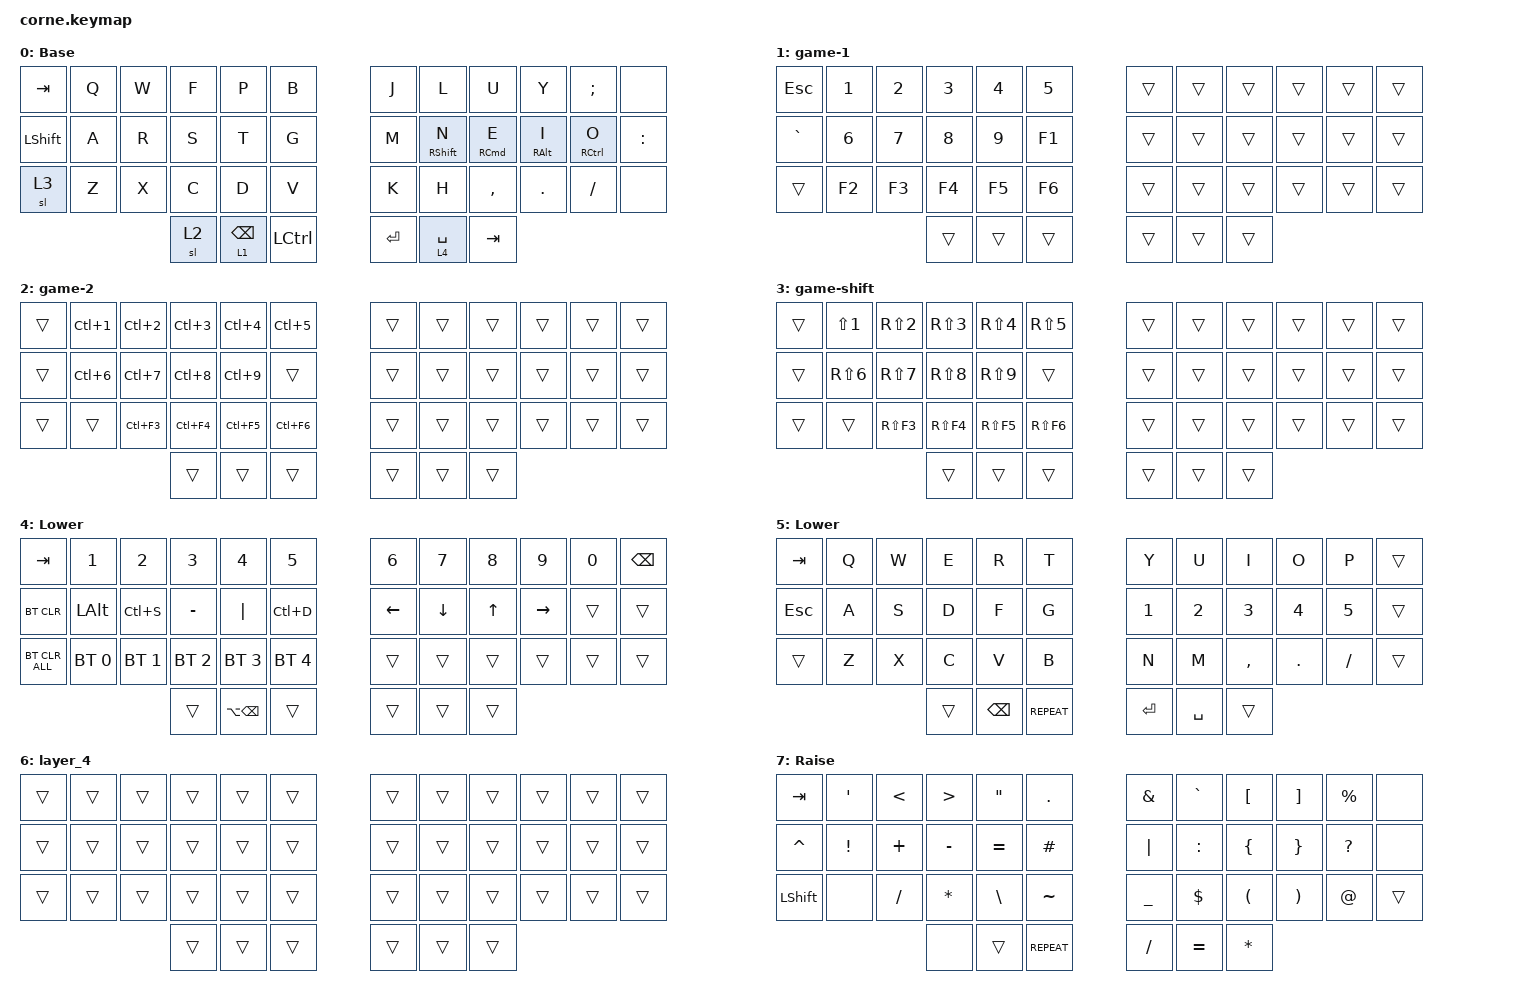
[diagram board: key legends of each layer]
/*
 * Copyright (c) 2020 The ZMK Contributors
 *
 * SPDX-License-Identifier: MIT
 */

#include <behaviors.dtsi>
#include <dt-bindings/zmk/bt.h>
#include <dt-bindings/zmk/keys.h>

/ {
    behaviors {
        hrm_r: hrm_r {
            compatible = "zmk,behavior-hold-tap";
            label = "HRM_R";
            bindings = <&kp>, <&kp>;

            #binding-cells = <2>;
            tapping-term-ms = <200>;
            quick-tap-ms = <175>;
            flavor = "tap-preferred";
            hold-trigger-on-release;
            hold-trigger-key-positions = <12 0 24 25 1 13 14 2 26 15 27 3 4 5 17 16 28 29 36 37 38 39 40 41>;
        };

        hrm_l: hrm_l {
            compatible = "zmk,behavior-hold-tap";
            label = "HRM_L";
            bindings = <&kp>, <&kp>;

            #binding-cells = <2>;
            tapping-term-ms = <200>;
            quick-tap-ms = <175>;
            flavor = "tap-preferred";
            hold-trigger-on-release;
            hold-trigger-key-positions = <36 37 38 39 40 41 6 7 8 9 10 11 18 19 20 21 22 23 30 31 32 33 34 35 39 40 41>;
        };
    };

    macros {
        hyper: hyper {
            compatible = "zmk,behavior-macro";
            #binding-cells = <0>;
            bindings = <&kp LC(LS(LA(LEFT_COMMAND)))>;
            label = "HYPER";
        };
    };

    combos {
        compatible = "zmk,combos";

        lpar {
            bindings = <&kp LESS_THAN>;
            key-positions = <19 20>;
        };

        rpar {
            bindings = <&kp GT>;
            key-positions = <20 21>;
        };

        lbrack {
            bindings = <&kp LEFT_BRACKET>;
            key-positions = <31 32>;
        };

        rbrack {
            bindings = <&kp RIGHT_BRACKET>;
            key-positions = <32 33>;
        };

        esc {
            bindings = <&kp ESC>;
            key-positions = <8 9>;
        };

        vim_wdel {
            bindings = <&kp RC(W)>;
            key-positions = <8 7>;
        };

        kgame {
            bindings = <&tog 5>;
            key-positions = <40 41>;
        };
    };

    keymap {
        compatible = "zmk,keymap";

        default_layer {
            // -----------------------------------------------------------------------------------------
            // |  TAB |  Q  |  W  |  E  |  R  |  T  |   |  Y  |  U   |  I  |  O  |  P  | BKSP |
            // | CTRL |  A  |  S  |  D  |  F  |  G  |   |  H  |  J   |  K  |  L  |  ;  |  '   |
            // | SHFT |  Z  |  X  |  C  |  V  |  B  |   |  N  |  M   |  ,  |  .  |  /  | ESC  |
            //                    | GUI | LWR | SPC |   | ENT | RSE  | ALT |

            display-name = "Base";
            bindings = <
&kp TAB         &kp Q  &kp W  &kp F  &kp P            &kp B        &kp J    &kp L                 &kp U                   &kp Y               &kp SEMICOLON           &none
&kp LEFT_SHIFT  &kp A  &kp R  &kp S  &kp T            &kp G        &kp M    &hrm_r RIGHT_SHIFT N  &hrm_r RIGHT_COMMAND E  &hrm_r RIGHT_ALT I  &hrm_r RIGHT_CONTROL O  &kp COLON
&sl 3           &kp Z  &kp X  &kp C  &kp D            &kp V        &kp K    &kp H                 &kp COMMA               &kp DOT             &kp FSLH                &none
                              &sl 2  &lt 1 BACKSPACE  &kp LCTRL    &kp RET  &lt 4 SPACE           &kp TAB
            >;
        };

        game-1 {
            bindings = <
&kp ESC    &kp NUMBER_1  &kp NUMBER_2  &kp NUMBER_3  &kp NUMBER_4  &kp NUMBER_5    &trans  &trans  &trans  &trans  &trans  &trans
&kp GRAVE  &kp NUMBER_6  &kp NUMBER_7  &kp NUMBER_8  &kp NUMBER_9  &kp F1          &trans  &trans  &trans  &trans  &trans  &trans
&trans     &kp F2        &kp F3        &kp F4        &kp F5        &kp F6          &trans  &trans  &trans  &trans  &trans  &trans
                                       &trans        &trans        &trans          &trans  &trans  &trans
            >;
        };

        game-2 {
            bindings = <
&trans  &kp LC(NUMBER_1)  &kp LC(NUMBER_2)  &kp LC(NUMBER_3)  &kp LC(NUMBER_4)  &kp LC(NUMBER_5)    &trans  &trans  &trans  &trans  &trans  &trans
&trans  &kp LC(NUMBER_6)  &kp LC(NUMBER_7)  &kp LC(NUMBER_8)  &kp LC(NUMBER_9)  &trans              &trans  &trans  &trans  &trans  &trans  &trans
&trans  &trans            &kp LC(F3)        &kp LC(F4)        &kp LC(F5)        &kp LC(F6)          &trans  &trans  &trans  &trans  &trans  &trans
                                            &trans            &trans            &trans              &trans  &trans  &trans
            >;
        };

        game-shift {
            bindings = <
&trans  &kp LS(NUMBER_1)  &kp RS(NUMBER_2)  &kp RS(NUMBER_3)  &kp RS(NUMBER_4)  &kp RS(NUMBER_5)    &trans  &trans  &trans  &trans  &trans  &trans
&trans  &kp RS(NUMBER_6)  &kp RS(NUMBER_7)  &kp RS(NUMBER_8)  &kp RS(NUMBER_9)  &trans              &trans  &trans  &trans  &trans  &trans  &trans
&trans  &trans            &kp RS(F3)        &kp RS(F4)        &kp RS(F5)        &kp RS(F6)          &trans  &trans  &trans  &trans  &trans  &trans
                                            &trans            &trans            &trans              &trans  &trans  &trans
            >;
        };

        lower_layer {
            // -----------------------------------------------------------------------------------------
            // |  TAB |  1  |  2  |  3  |  4  |  5  |   |  6  |  7  |  8  |  9  |  0  | BKSP |
            // | BTCLR| BT1 | BT2 | BT3 | BT4 | BT5 |   | LFT | DWN |  UP | RGT |     |      |
            // | SHFT |     |     |     |     |     |   |     |     |     |     |     |      |
            //                    | GUI |     | SPC |   | ENT |     | ALT |

            display-name = "Lower";
            bindings = <
&kp TAB         &kp N1        &kp N2        &kp N3        &kp N4             &kp N5          &kp N6    &kp N7    &kp N8  &kp N9     &kp N0  &kp BSPC
&bt BT_CLR      &kp LEFT_ALT  &kp LC(S)     &kp MINUS     &kp PIPE           &kp LC(D)       &kp LEFT  &kp DOWN  &kp UP  &kp RIGHT  &trans  &trans
&bt BT_CLR_ALL  &bt BT_SEL 0  &bt BT_SEL 1  &bt BT_SEL 2  &bt BT_SEL 3       &bt BT_SEL 4    &trans    &trans    &trans  &trans     &trans  &trans
                                            &trans        &kp LA(BACKSPACE)  &trans          &trans    &trans    &trans
            >;
        };

        gaming {
            display-name = "Lower";
            bindings = <
&kp TAB  &kp Q  &kp W  &kp E   &kp R     &kp T           &kp Y         &kp U         &kp I         &kp O         &kp P     &trans
&kp ESC  &kp A  &kp S  &kp D   &kp F     &kp G           &kp NUMBER_1  &kp NUMBER_2  &kp NUMBER_3  &kp NUMBER_4  &kp N5    &trans
&trans   &kp Z  &kp X  &kp C   &kp V     &kp B           &kp N         &kp M         &kp COMMA     &kp DOT       &kp FSLH  &trans
                       &trans  &kp BSPC  &kp C_REPEAT    &kp ENTER     &kp SPACE     &trans
            >;

            label = "Gaming Layer";
        };

        layer_4 {
            bindings = <
&trans  &trans  &trans  &trans  &trans  &trans    &trans  &trans  &trans  &trans  &trans  &trans
&trans  &trans  &trans  &trans  &trans  &trans    &trans  &trans  &trans  &trans  &trans  &trans
&trans  &trans  &trans  &trans  &trans  &trans    &trans  &trans  &trans  &trans  &trans  &trans
                        &trans  &trans  &trans    &trans  &trans  &trans
            >;
        };

        raise_layer {
            // -----------------------------------------------------------------------------------------
            // |  TAB |  !  |  @  |  #  |  $  |  %  |   |  ^  |  &  |  *  |  (  |  )  | BKSP |
            // | CTRL |     |     |     |     |     |   |  -  |  =  |  [  |  ]  |  \  |  `   |
            // | SHFT |     |     |     |     |     |   |  _  |  +  |  {  |  }  | "|" |  ~   |
            //                    | GUI |     | SPC |   | ENT |     | ALT |

            display-name = "Raise";
            bindings = <
&kp TAB    &kp APOSTROPHE   &kp LESS_THAN  &kp GREATER_THAN  &kp DOUBLE_QUOTES  &kp PERIOD      &kp AMPERSAND  &kp GRAVE   &kp LEFT_BRACKET      &kp RIGHT_BRACKET      &kp PERCENT   &none
&kp CARET  &kp EXCLAMATION  &kp PLUS       &kp MINUS         &kp EQUAL          &kp HASH        &kp PIPE       &kp COLON   &kp LEFT_BRACE        &kp RIGHT_BRACE        &kp QUESTION  &none
&kp LSHFT  &none            &kp SLASH      &kp ASTERISK      &kp BACKSLASH      &kp TILDE       &kp UNDER      &kp DOLLAR  &kp LEFT_PARENTHESIS  &kp RIGHT_PARENTHESIS  &kp AT_SIGN   &trans
                                           &none             &trans             &kp C_REPEAT    &kp SLASH      &kp EQUAL   &kp ASTERISK
            >;
        };
    };
};
